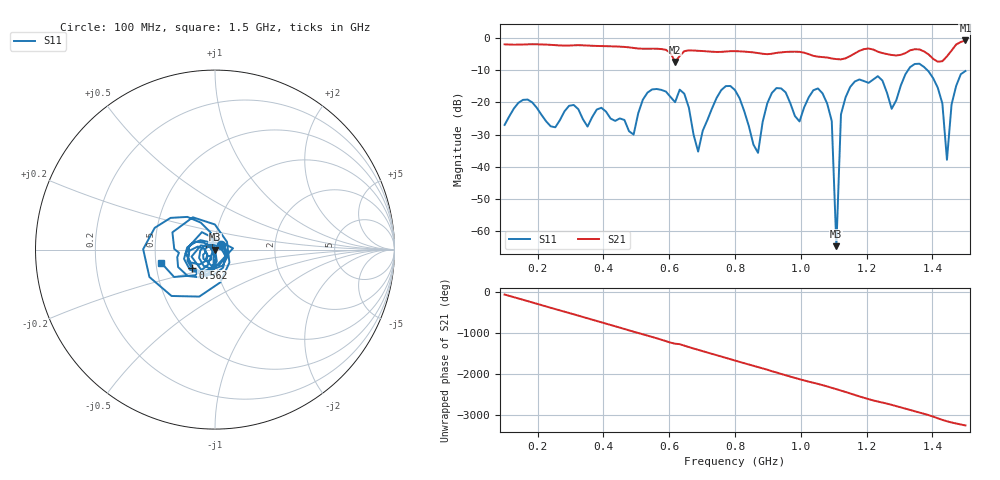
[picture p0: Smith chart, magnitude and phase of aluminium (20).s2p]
! NanoVNA-App
! Date: 2025-09-25 14:55:25
! Start: 100MHz Stop: 1,5GHz Points: 101
! S-Parameter data: F S11 S21 S12 S22
# Hz S RI R 50
!  Frequency  S11_Real  S11_Imag  S21_Real  S21_Imag  S12_Real  S12_Imag  S22_Real  S22_Imag
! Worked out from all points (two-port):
!   101 points, 100 MHz to 1.5 GHz, reference 50 ohm
!   highest |S21| = -0.72 dB at 1.5 GHz (marker M1); lowest = -7.4 dB at 618 MHz (marker M2)
!   |S21| within 3 dB of the highest: start of sweep to 591.5 MHz; 1.184 GHz to 1.224 GHz (39.77 MHz wide, 3.3 % of centre) (the widest 2 of 4)
!   lowest |S11| = -64.8 dB at 1.108 GHz (marker M3), VSWR 1.00, Z = 50 - j0.0575 ohm
!   |S11| at or under -10 dB: start of sweep to 1.326 GHz; 1.385 GHz to end of sweep
!   S12 and S22 are empty: the file has one direction only
!   S11 on the Smith chart (normalised r, x): 100 MHz: 1.07, +0.06; 562 MHz: 0.76, -0.16; 1.5 GHz: 0.53, -0.09
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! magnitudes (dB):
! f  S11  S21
! 100 MHz  -27.0  -1.9
! 338 MHz  -25.2  -2.2
! 492 MHz  -30.0  -3.1
! 562 MHz  -15.8  -3.3
! 576 MHz  -16.1  -3.4
! 618 MHz  -19.9  -7.4
! 688 MHz  -35.3  -3.9
! 800 MHz  -16.2  -4.0
! 870 MHz  -35.7  -4.6
! 912 MHz  -17.1  -4.9
! 996 MHz  -25.9  -4.3
! 1.038 GHz  -16.2  -5.5
! 1.094 GHz  -25.8  -6.3
! 1.108 GHz  -64.8  -6.5
! 1.122 GHz  -23.7  -6.6
! 1.136 GHz  -18.4  -6.3
! 1.276 GHz  -22.0  -5.2
! 1.374 GHz  -8.9  -4.1
! 1.43 GHz  -20.3  -7.2
! 1.444 GHz  -37.9  -5.7
! 1.458 GHz  -20.6  -3.9
! 1.5 GHz  -10.2  -0.7
